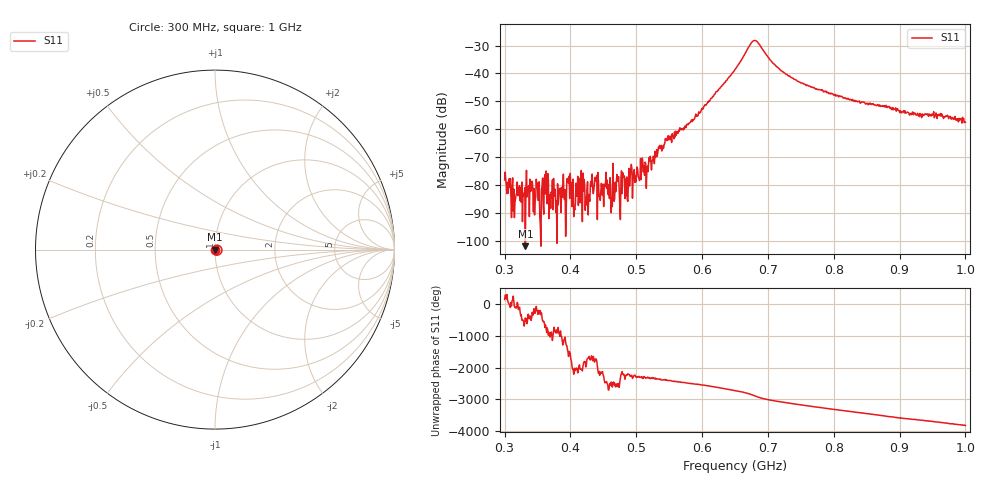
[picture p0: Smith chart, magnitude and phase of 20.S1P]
! C:\Users\rflab\Downloads\q2\20.S1P
! Touchstone 1.1 file saved by VNA.EXE V1.65 (www.ke5fx.com/gpib/readme.htm)
! 11/20/2024 11:06:45 AM
!  Source: HEWLETT PACKARD,8753D,0,6.14
!  Min freq: 3.000000E+008 Hz
!  Max freq: 1.000000E+009 Hz
!  Points: 801
!  Params: S21
# GHZ S MA R 50
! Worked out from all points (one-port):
!   801 points, 300 MHz to 1 GHz, reference 50 ohm
!   lowest |S11| = -101.9 dB at 331.5 MHz (marker M1), VSWR 1.00, Z = 50 - j0.000765 ohm
!   |S11| at or under -10 dB: start of sweep to end of sweep
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0.3  0.000123 151.7
0.3315  8e-06 -73.0
0.353375  2.8e-05 56.0
0.363875  7.1e-05 -173.0
0.37  3.8e-05 106.0
0.3875  6e-05 -61.1
0.41725  7.6e-05 102.4
0.426  0.000114 88.4
0.44  0.000148 7.7
0.449625  0.000103 -78.3
0.475  4.3e-05 64.8
0.48025  0.000152 -64.1
0.486375  5.4e-05 -73.1
0.4925  0.000234 -97.1
0.502125  0.000191 -146.7
0.51  0.000252 169.4
0.514375  0.000241 176.8
0.547625  0.000715 114.7
0.5625  0.000892 73.5
0.594875  0.002043 -13.5
0.65  0.01175 151.6
0.673625  0.0338 33.3
0.680625  0.03893 -22.4
0.710375  0.01436 -177.3
0.7375  0.008276 96.4
0.825  0.00342 -154.1
0.9125  0.002008 -22.4
1  0.001335 125.6
